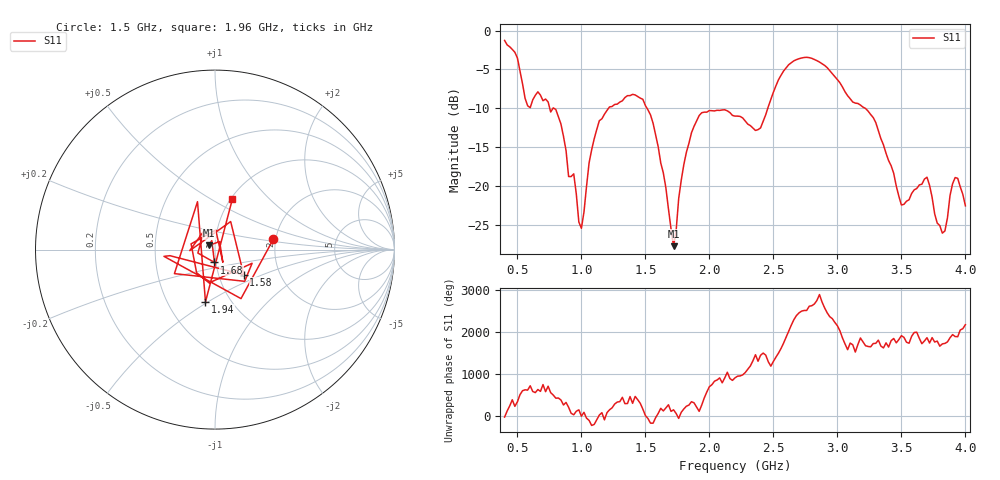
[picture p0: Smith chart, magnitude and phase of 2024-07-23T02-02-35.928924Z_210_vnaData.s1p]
!Created with skrf (http://scikit-rf.org).
# Hz S RI R 50.0
!freq ReS11 ImS11
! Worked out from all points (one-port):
!   181 points, 400 MHz to 4 GHz, reference 50 ohm
!   lowest |S11| = -27.7 dB at 1.72 GHz (marker M1), VSWR 1.09, Z = 46.7 + j2.16 ohm
!   |S11| at or under -10 dB: 785.7 MHz to 1.212 GHz (426.1 MHz wide, 42.7 % of centre); 1.513 GHz to 2.456 GHz (943.1 MHz wide, 47.5 % of centre); 3.218 GHz to end of sweep (the widest 3 of 4)
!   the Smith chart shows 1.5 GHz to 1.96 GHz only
!   S11 on the Smith chart (normalised r, x): 1.5 GHz: 1.94, +0.25; 1.58 GHz: 1.32, -0.39; 1.68 GHz: 0.98, -0.14; 1.94 GHz: 0.76, -0.49; 1.96 GHz: 1.02, +0.63
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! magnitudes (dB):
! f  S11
! 400 MHz  -1.3
! 500 MHz  -3.5
! 580 MHz  -9.7
! 660 MHz  -7.9
! 860 MHz  -13.6
! 1 GHz  -25.4
! 1.06 GHz  -17.0
! 1.14 GHz  -11.6
! 1.3 GHz  -9.2
! 1.5 GHz  -9.6
! 1.58 GHz  -13.4
! 1.68 GHz  -22.9
! 1.72 GHz  -27.7
! 1.76 GHz  -21.6
! 1.86 GHz  -13.1
! 1.94 GHz  -10.6
! 1.96 GHz  -10.5
! 2.2 GHz  -11.0
! 2.4 GHz  -12.5
! 2.66 GHz  -3.9
! 3.1 GHz  -8.8
! 3.28 GHz  -11.2
! 3.5 GHz  -22.4
! 3.56 GHz  -21.8
! 3.7 GHz  -18.9
! 3.82 GHz  -26.1
! 3.92 GHz  -18.9
! 4 GHz  -22.5
